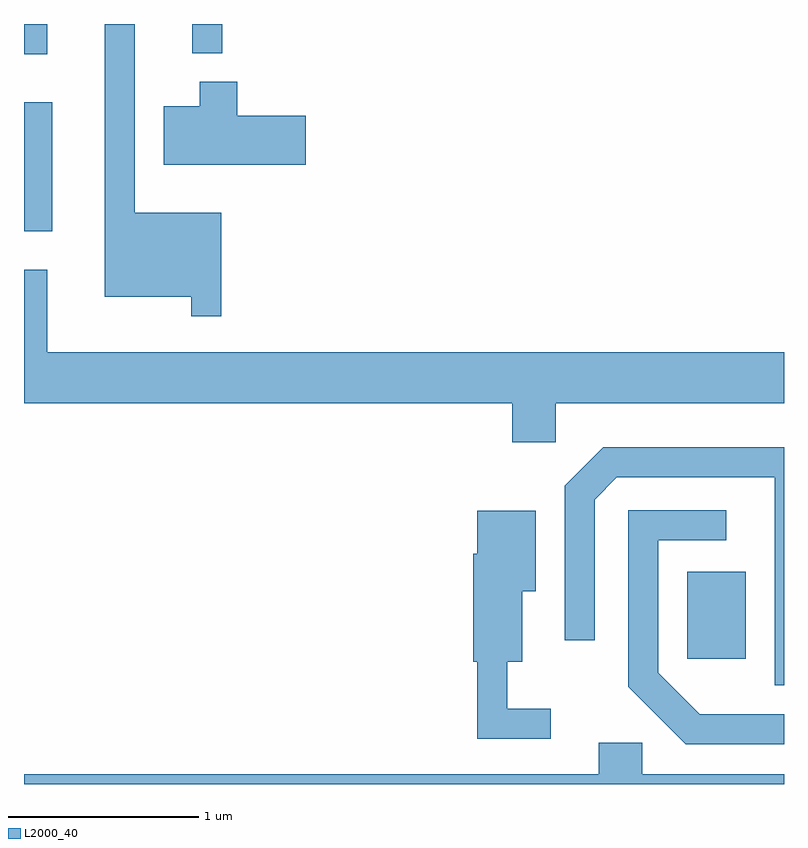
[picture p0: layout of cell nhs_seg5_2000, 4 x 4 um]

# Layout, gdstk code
import gdstk
lib = gdstk.Library(unit=1e-6, precision=1e-09)
def R(c, l, rs):  # rectangles x0, y0, x1, y1
    for r in rs: c.add(gdstk.rectangle(r[:2], r[2:], *l))
def P(c, l, *ps):  # polygons
    for p in ps: c.add(gdstk.Polygon(p, *l))
L2000_40 = (2000, 40)

nhs_seg5_2000 = lib.new_cell('nhs_seg5_2000')
R(nhs_seg5_2000, L2000_40, [(247.101,1508.731,247.409,1509.189), (243.611,1510.981,243.759,1511.659), (243.611,1511.913,243.734,1512.072), (244.496,1511.918,244.654,1512.072)])
P(nhs_seg5_2000, L2000_40, [(244.649,1511.079),(244.194,1511.079),(244.194,1512.072),(244.036,1512.072),(244.036,1510.636),(244.491,1510.636),(244.491,1510.533),(244.649,1510.533)],
  [(245.094,1511.589),(244.734,1511.589),(244.734,1511.769),(244.536,1511.769),(244.536,1511.639),(244.346,1511.639),(244.346,1511.331),(245.094,1511.331)],
  [(246.409,1510.076),(247.611,1510.076),(247.611,1510.344),(243.734,1510.344),(243.734,1510.778),(243.611,1510.778),(243.611,1510.076),(246.181,1510.076),(246.181,1509.871),(246.409,1509.871)],
  [(247.611,1509.844),(246.659,1509.844),(246.456,1509.642),(246.456,1508.828),(246.614,1508.828),(246.614,1509.569),(246.732,1509.686),(247.561,1509.686),(247.561,1508.591),(247.611,1508.591)],
  [(247.611,1508.439),(247.167,1508.439),(246.949,1508.657),(246.949,1509.356),(247.308,1509.356),(247.308,1509.514),(246.791,1509.514),(246.791,1508.584),(247.094,1508.281),(247.611,1508.281)],
  [(246.383,1508.469),(246.154,1508.469),(246.154,1508.716),(246.234,1508.716),(246.234,1509.086),(246.304,1509.086),(246.304,1509.509),(245.996,1509.509),(245.996,1509.284),(245.976,1509.284),(245.976,1508.716),(245.996,1508.716),(245.996,1508.311),(246.383,1508.311)],
  [(247.611,1508.124),(246.864,1508.124),(246.864,1508.289),(246.636,1508.289),(246.636,1508.124),(243.611,1508.124),(243.611,1508.072),(247.611,1508.072)])

lib.write_gds('nhs_seg5_2000.gds')
